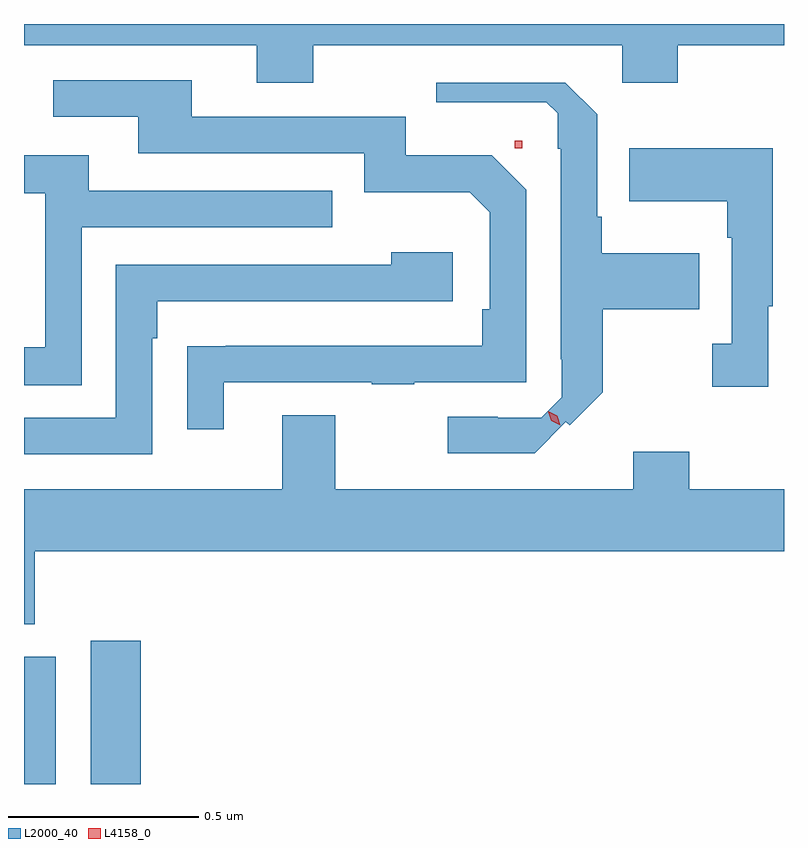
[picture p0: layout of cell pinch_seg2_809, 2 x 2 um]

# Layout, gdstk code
import gdstk
lib = gdstk.Library(unit=1e-6, precision=1e-09)
def R(c, l, rs):  # rectangles x0, y0, x1, y1
    for r in rs: c.add(gdstk.rectangle(r[:2], r[2:], *l))
def P(c, l, *ps):  # polygons
    for p in ps: c.add(gdstk.Polygon(p, *l))
L2000_40 = (2000, 40)
L4158_0 = (4158, 0)

pinch_seg2_809 = lib.new_cell('pinch_seg2_809')
R(pinch_seg2_809, L2000_40, [(732.832,623.048,732.916,623.383), (733.007,623.048,733.139,623.425)])
P(pinch_seg2_809, L2000_40, [(733.593,624.992),(734.406,624.992),(734.406,624.893),(734.553,624.893),(734.553,624.992),(734.832,624.992),(734.832,625.048),(732.832,625.048),(732.832,624.992),(733.445,624.992),(733.445,624.893),(733.593,624.893)],
  [(733.357,624.105),(733.747,624.105),(733.747,624.1),(733.859,624.1),(733.859,624.105),(734.154,624.105),(734.154,624.612),(734.063,624.703),(733.837,624.703),(733.837,624.804),(733.273,624.804),(733.273,624.9),(732.909,624.9),(732.909,624.804),(733.133,624.804),(733.133,624.708),(733.728,624.708),(733.728,624.605),(734.005,624.605),(734.058,624.552),(734.058,624.298),(734.038,624.298),(734.038,624.201),(733.363,624.201),(733.363,624.2),(733.261,624.2),(733.261,623.982),(733.357,623.982)],
  [(734.258,624.001),(734.268,623.992),(734.355,624.079),(734.355,624.298),(734.609,624.298),(734.609,624.445),(734.353,624.445),(734.353,624.541),(734.34,624.541),(734.34,624.81),(734.256,624.894),(733.917,624.894),(733.917,624.842),(734.206,624.842),(734.236,624.813),(734.236,624.72),(734.244,624.72),(734.244,624.166),(734.247,624.166),(734.247,624.066),(734.193,624.012),(734.079,624.012),(734.079,624.015),(733.947,624.015),(733.947,623.919),(734.176,623.919)],
  [(734.791,624.305),(734.803,624.305),(734.803,624.721),(734.425,624.721),(734.425,624.581),(734.682,624.581),(734.682,624.485),(734.694,624.485),(734.694,624.206),(734.643,624.206),(734.643,624.093),(734.791,624.093)],
  [(732.984,624.513),(733.643,624.513),(733.643,624.609),(733.003,624.609),(733.003,624.703),(732.832,624.703),(732.832,624.603),(732.888,624.603),(732.888,624.198),(732.832,624.198),(732.832,624.097),(732.984,624.097)],
  [(733.17,624.221),(733.183,624.221),(733.183,624.318),(733.96,624.318),(733.96,624.448),(733.799,624.448),(733.799,624.414),(733.074,624.414),(733.074,624.012),(732.832,624.012),(732.832,623.916),(733.17,623.916)],
  [(732.86,623.66),(734.832,623.66),(734.832,623.824),(734.583,623.824),(734.583,623.923),(734.435,623.923),(734.435,623.824),(733.651,623.824),(733.651,624.019),(733.511,624.019),(733.511,623.824),(732.832,623.824),(732.832,623.468),(732.86,623.468)])
R(pinch_seg2_809, L4158_0, [(734.123,624.721,734.143,624.741)])
P(pinch_seg2_809, L4158_0, [(734.243,623.992),(734.22,624.004),(734.211,624.028),(734.211,624.029),(734.211,624.029),(734.235,624.017),(734.243,623.992),(734.243,623.992)])

lib.write_gds('pinch_seg2_809.gds')
